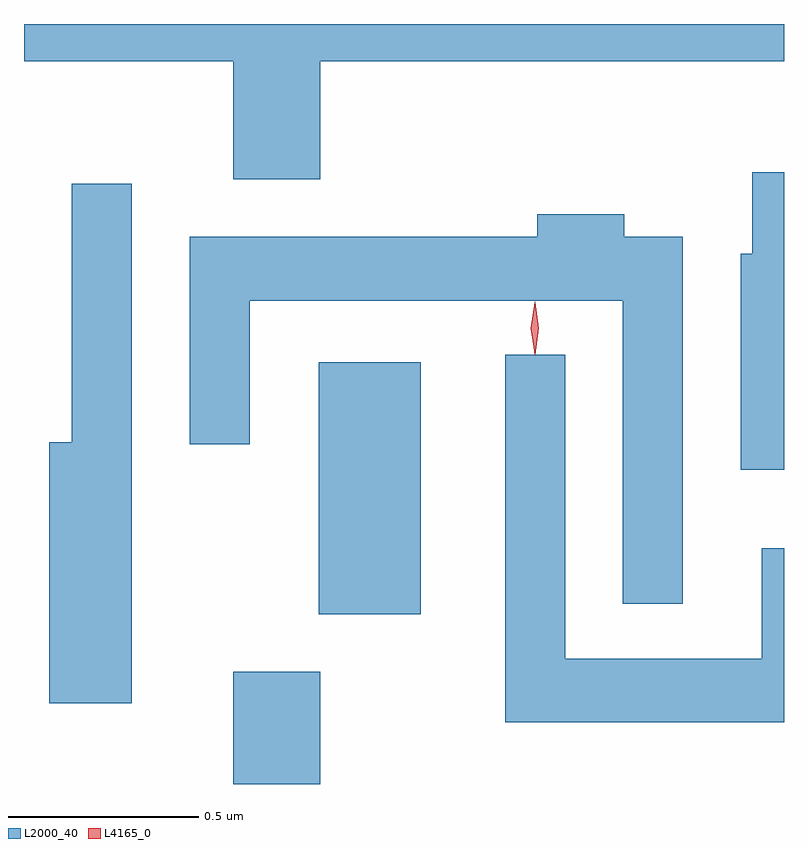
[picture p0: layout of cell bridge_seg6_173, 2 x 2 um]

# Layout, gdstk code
import gdstk
lib = gdstk.Library(unit=1e-6, precision=1e-09)
def R(c, l, rs):  # rectangles x0, y0, x1, y1
    for r in rs: c.add(gdstk.rectangle(r[:2], r[2:], *l))
def P(c, l, *ps):  # polygons
    for p in ps: c.add(gdstk.Polygon(p, *l))
L2000_40 = (2000, 40)
L4165_0 = (4165, 0)

bridge_seg6_173 = lib.new_cell('bridge_seg6_173')
R(bridge_seg6_173, L2000_40, [(1079.361,1581.434,1079.589,1581.729), (1079.586,1581.881,1079.854,1582.544)])
P(bridge_seg6_173, L2000_40, [(1079.589,1583.336),(1080.81,1583.336),(1080.81,1583.434),(1078.81,1583.434),(1078.81,1583.336),(1079.361,1583.336),(1079.361,1583.026),(1079.589,1583.026)],
  [(1080.81,1583.044),(1080.726,1583.044),(1080.726,1582.829),(1080.696,1582.829),(1080.696,1582.261),(1080.81,1582.261)],
  [(1079.094,1583.013),(1078.936,1583.013),(1078.936,1582.334),(1078.876,1582.334),(1078.876,1581.646),(1079.094,1581.646)],
  [(1080.544,1582.874),(1080.389,1582.874),(1080.389,1582.934),(1080.161,1582.934),(1080.161,1582.874),(1079.246,1582.874),(1079.246,1582.328),(1079.404,1582.328),(1079.404,1582.706),(1080.386,1582.706),(1080.386,1581.908),(1080.544,1581.908)],
  [(1080.81,1582.054),(1080.751,1582.054),(1080.751,1581.764),(1080.234,1581.764),(1080.234,1582.563),(1080.076,1582.563),(1080.076,1581.596),(1080.81,1581.596)])
P(bridge_seg6_173, L4165_0, [(1080.154,1582.567),(1080.154,1582.568),(1080.144,1582.634),(1080.154,1582.7),(1080.154,1582.701),(1080.154,1582.7),(1080.164,1582.634),(1080.154,1582.568)],
  [(1080.154,1582.564),(1080.145,1582.634),(1080.154,1582.702),(1080.155,1582.703),(1080.156,1582.702),(1080.165,1582.634),(1080.156,1582.564),(1080.155,1582.564)])

lib.write_gds('bridge_seg6_173.gds')
